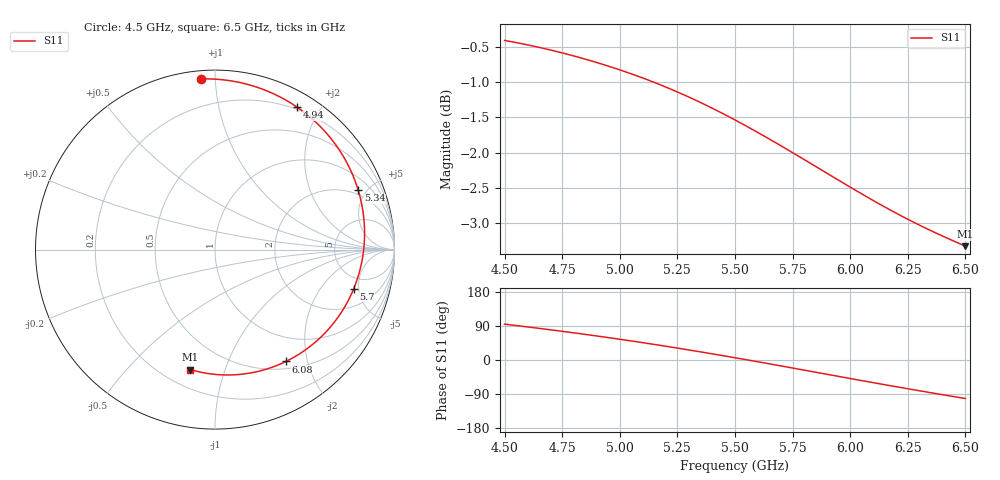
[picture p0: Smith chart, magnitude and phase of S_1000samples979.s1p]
! TOUCHSTONE file generated by CST MICROWAVE STUDIO
! Date and time: Sat Oct 29 23:46:50 2022
! Project name: L.cst
! Parameters = {Di=1.27; Epsilon_r=1.56; InnerDiameter=1.27; Length=2; Lf=10; Lg=60; OuterConductorThickness=0.2921; OuterDiameter=3.6; Wf=3; Wp=41.2; de=1.5; df=6.8; g=0.8; gx=3.26701; gy=4.08087; h=2.34; hf=1.524; px=11.3146; py=12.2057; w=9.7; wx=8.04762; wy=8.12487}
! Header version: 2018
! Port assignment regex: !\s*Touchstone port\s*([0-9]+)\s*=\s*(CST MWS port|CST DS port)\s*([0-9]+|Zmin|Zmax)\s*\(\"(.*)\"\)(\s*mode\s*([0-9]+))?.*
! Touchstone port assignment:
! Touchstone port 1 = CST MWS port 1 ("")
# GHz S DB R 50
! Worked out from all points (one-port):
!   101 points, 4.5 GHz to 6.5 GHz, reference 50 ohm
!   lowest |S11| = -3.3 dB at 6.5 GHz (marker M1), VSWR 5.29, Z = 15.4 - j38.4 ohm
!   |S11| at or under -10 dB: nowhere
!   S11 on the Smith chart (normalised r, x): 4.5 GHz: 0.04, +0.92; 4.94 GHz: 0.17, +1.72; 5.34 GHz: 1.69, +4.41; 5.7 GHz: 3.61, -4.41; 6.08 GHz: 0.60, -1.65; 6.5 GHz: 0.31, -0.77
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4.5  -0.41 94.6
4.58  -0.46 88.8
4.64  -0.50 84.3
4.76  -0.59 74.9
4.86  -0.68 66.7
4.94  -0.76 59.9
5  -0.83 54.7
5.12  -0.97 43.8
5.2  -1.07 36.3
5.26  -1.15 30.4
5.34  -1.27 22.5
5.42  -1.40 14.3
5.5  -1.54 5.9
5.54  -1.61 1.7
5.6  -1.71 -4.8
5.7  -1.90 -15.7
5.76  -2.02 -22.3
5.82  -2.14 -28.9
5.88  -2.25 -35.6
5.94  -2.37 -42.2
6  -2.49 -48.8
6.08  -2.64 -57.6
6.16  -2.79 -66.3
6.26  -2.96 -76.9
6.32  -3.06 -83.2
6.38  -3.15 -89.4
6.44  -3.24 -95.6
6.5  -3.32 -101.6
